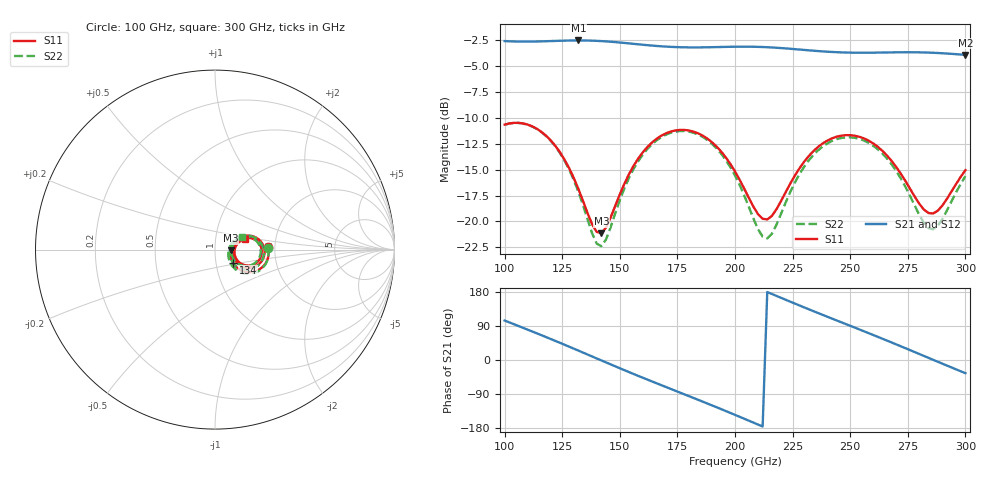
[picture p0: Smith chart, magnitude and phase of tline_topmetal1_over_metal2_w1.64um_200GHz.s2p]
#  GHZ S DB R 50
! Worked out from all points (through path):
!   101 points, 100 GHz to 300 GHz, reference 50 ohm
!   highest |S21| = -2.51 dB at 132 GHz (marker M1); lowest = -3.9 dB at 300 GHz (marker M2)
!   group delay of S21, straight-line fit = 6.93 ps
!   lowest |S11| = -21.1 dB at 142 GHz (marker M3), VSWR 1.19, Z = 59.6 - j0.464 ohm
!   |S11| at or under -10 dB: start of sweep to end of sweep
!   |S22| runs from -22.4 to -10.5 dB; largest |S21 - S12| = 1.1e-13
!   S11 on the Smith chart (normalised r, x): 100 GHz: 1.83, +0.07; 134 GHz: 1.21, -0.18; 300 GHz: 1.39, +0.17
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100  -10.65 3.3  -2.56 104.2  -2.56 104.2  -10.67 1.9
108  -10.53 -10.6  -2.62 84.9  -2.62 84.9  -10.54 -12.4
116  -11.35 -24.0  -2.59 65.4  -2.59 65.4  -11.37 -26.5
124  -13.31 -35.2  -2.54 45.4  -2.54 45.4  -13.38 -38.7
132  -16.85 -38.7  -2.51 24.9  -2.51 24.9  -17.13 -43.9
134  -18.01 -36.5  -2.51 19.7  -2.51 19.7  -18.42 -42.2
140  -21.03 -14.4  -2.54 4.1  -2.54 4.1  -22.16 -18.7
142  -21.14 -2.5  -2.57 -1.1  -2.57 -1.1  -22.40 -4.5
156  -14.62 24.6  -2.83 -36.9  -2.83 -36.9  -14.92 25.7
168  -11.72 9.9  -3.07 -66.4  -3.07 -66.4  -11.86 9.5
184  -11.49 -14.9  -3.18 -105.0  -3.18 -105.0  -11.61 -17.2
200  -15.17 -32.1  -3.11 -144.8  -3.11 -144.8  -15.56 -37.5
210  -19.31 -18.2  -3.13 -170.4  -3.13 -170.4  -20.76 -24.0
214  -19.81 -2.1  -3.16 179.4  -3.16 179.4  -21.65 -3.2
224  -16.34 21.2  -3.31 153.9  -3.31 153.9  -17.16 25.6
234  -13.22 16.2  -3.50 129.0  -3.50 129.0  -13.59 19.0
244  -11.82 3.4  -3.64 104.7  -3.64 104.7  -12.06 4.8
252  -11.72 -8.0  -3.69 85.4  -3.69 85.4  -11.92 -7.7
268  -14.16 -26.8  -3.66 46.2  -3.66 46.2  -14.50 -29.0
278  -17.60 -24.3  -3.65 20.9  -3.65 20.9  -18.47 -28.0
286  -19.24 -1.8  -3.70 0.5  -3.70 0.5  -20.77 -1.0
300  -15.05 19.0  -3.90 -34.8  -3.90 -34.8  -15.63 24.2
